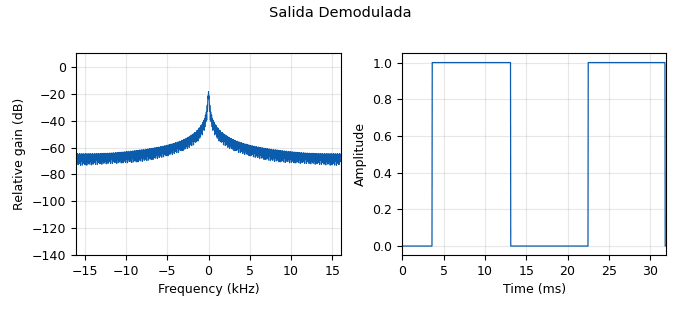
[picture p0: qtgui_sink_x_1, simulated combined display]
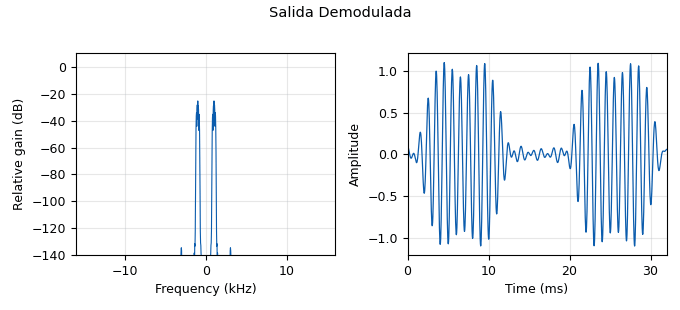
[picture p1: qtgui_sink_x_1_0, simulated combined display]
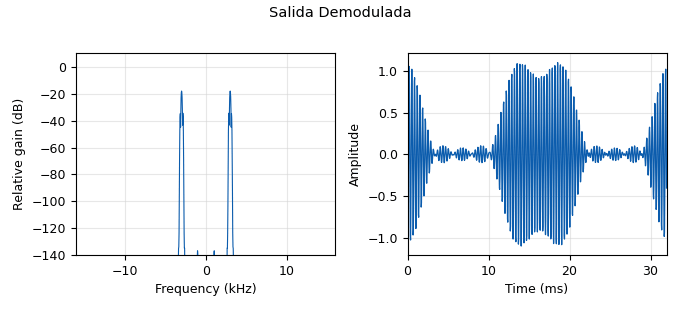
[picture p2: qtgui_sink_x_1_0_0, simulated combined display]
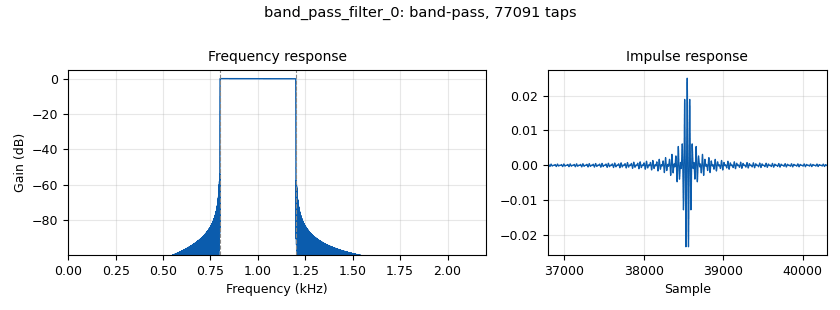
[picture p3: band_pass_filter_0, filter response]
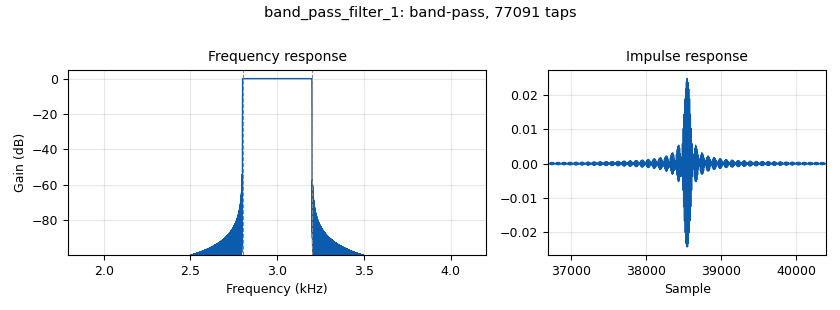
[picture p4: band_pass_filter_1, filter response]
options:
  parameters:
    author: Matias Gandino
    generate_options: qt_gui
    id: FSK_simulacion
    output_language: python
    title: FSK_simulacion
  states: {}

blocks:
- name: samp_rate
  id: variable
  parameters:
    value: '32000'
  states: {}
- name: analog_const_source_x_0
  id: analog_const_source_x
  parameters:
    const: '-1'
    type: float
  states: {}
- name: analog_sig_source_x_0
  id: analog_sig_source_x
  parameters:
    amp: '1'
    freq: '1000'
    offset: '0'
    phase: '0'
    samp_rate: samp_rate
    type: float
    waveform: analog.GR_COS_WAVE
  states: {}
- name: analog_sig_source_x_0_0
  id: analog_sig_source_x
  parameters:
    amp: '1'
    freq: '3000'
    offset: '0'
    phase: '0'
    samp_rate: samp_rate
    type: float
    waveform: analog.GR_COS_WAVE
  states: {}
- name: band_pass_filter_0
  id: band_pass_filter
  parameters:
    decim: '1'
    gain: '1'
    high_cutoff_freq: '1200'
    low_cutoff_freq: '800'
    samp_rate: '32000'
    type: fir_filter_fff
    width: '1'
    win: window.WIN_HAMMING
  states: {}
- name: band_pass_filter_1
  id: band_pass_filter
  parameters:
    decim: '1'
    gain: '1'
    high_cutoff_freq: '3200'
    low_cutoff_freq: '2800'
    samp_rate: '32000'
    type: fir_filter_fff
    width: '1'
    win: window.WIN_HAMMING
  states: {}
- name: blocks_add_const_vxx_0
  id: blocks_add_const_vxx
  parameters:
    const: '-1'
    type: float
  states: {}
- name: blocks_add_xx_0
  id: blocks_add_xx
  parameters:
    type: float
  states: {}
- name: blocks_moving_average_xx_0
  id: blocks_moving_average_xx
  parameters:
    length: '100'
    max_iter: '4000'
    scale: '0.01'
    type: float
  states: {}
- name: blocks_moving_average_xx_0_0
  id: blocks_moving_average_xx
  parameters:
    length: '100'
    max_iter: '4000'
    scale: '0.01'
    type: float
  states: {}
- name: blocks_multiply_xx_0
  id: blocks_multiply_xx
  parameters:
    type: float
  states: {}
- name: blocks_multiply_xx_0_0
  id: blocks_multiply_xx
  parameters:
    type: float
  states: {}
- name: blocks_multiply_xx_0_0_0
  id: blocks_multiply_xx
  parameters:
    type: float
  states: {}
- name: blocks_multiply_xx_1
  id: blocks_multiply_xx
  parameters:
    type: float
  states: {}
- name: blocks_multiply_xx_1_0
  id: blocks_multiply_xx
  parameters:
    type: float
  states: {}
- name: blocks_repeat_0
  id: blocks_repeat
  parameters:
    interp: '100'
    type: float
  states: {}
- name: blocks_sub_xx_0
  id: blocks_sub_xx
  parameters:
    type: float
  states: {}
- name: blocks_throttle2_0
  id: blocks_throttle2
  parameters:
    samples_per_second: samp_rate
    type: float
  states: {}
- name: blocks_uchar_to_float_0
  id: blocks_uchar_to_float
  parameters: {}
  states: {}
- name: blocks_vector_source_x_0
  id: blocks_vector_source_x
  parameters:
    repeat: 'True'
    tags: ''
    type: float
    vector: (0, 0, 0, 1, 1, 1, 0, 0, 0, 1, 1, 1)
  states: {}
- name: digital_binary_slicer_fb_0
  id: digital_binary_slicer_fb
  parameters: {}
  states: {}
- name: qtgui_sink_x_1
  id: qtgui_sink_x
  parameters:
    bw: samp_rate
    fc: '0'
    fftsize: '1024'
    name: '"Salida Demodulada"'
    type: float
  states: {}
- name: qtgui_sink_x_1_0
  id: qtgui_sink_x
  parameters:
    bw: samp_rate
    fc: '0'
    fftsize: '1024'
    name: '"Salida Demodulada"'
    type: float
  states: {}
- name: qtgui_sink_x_1_0_0
  id: qtgui_sink_x
  parameters:
    bw: samp_rate
    fc: '0'
    fftsize: '1024'
    name: '"Salida Demodulada"'
    type: float
  states: {}
- name: virtual_sink_0
  id: virtual_sink
  parameters:
    stream_id: FSK_salida
  states: {}
- name: virtual_source_0
  id: virtual_source
  parameters:
    stream_id: FSK_salida
  states: {}

connections:
- [analog_const_source_x_0, '0', blocks_multiply_xx_0_0, '1']
- [analog_sig_source_x_0, '0', blocks_multiply_xx_0, '0']
- [analog_sig_source_x_0_0, '0', blocks_multiply_xx_0_0_0, '1']
- [band_pass_filter_0, '0', blocks_multiply_xx_1, '0']
- [band_pass_filter_0, '0', blocks_multiply_xx_1, '1']
- [band_pass_filter_0, '0', qtgui_sink_x_1_0, '0']
- [band_pass_filter_1, '0', blocks_multiply_xx_1_0, '0']
- [band_pass_filter_1, '0', blocks_multiply_xx_1_0, '1']
- [band_pass_filter_1, '0', qtgui_sink_x_1_0_0, '0']
- [blocks_add_const_vxx_0, '0', blocks_multiply_xx_0_0, '0']
- [blocks_add_xx_0, '0', blocks_throttle2_0, '0']
- [blocks_moving_average_xx_0, '0', blocks_sub_xx_0, '1']
- [blocks_moving_average_xx_0_0, '0', blocks_sub_xx_0, '0']
- [blocks_multiply_xx_0, '0', blocks_add_xx_0, '0']
- [blocks_multiply_xx_0_0, '0', blocks_multiply_xx_0_0_0, '0']
- [blocks_multiply_xx_0_0_0, '0', blocks_add_xx_0, '1']
- [blocks_multiply_xx_1, '0', blocks_moving_average_xx_0_0, '0']
- [blocks_multiply_xx_1_0, '0', blocks_moving_average_xx_0, '0']
- [blocks_repeat_0, '0', blocks_add_const_vxx_0, '0']
- [blocks_repeat_0, '0', blocks_multiply_xx_0, '1']
- [blocks_sub_xx_0, '0', digital_binary_slicer_fb_0, '0']
- [blocks_throttle2_0, '0', virtual_sink_0, '0']
- [blocks_uchar_to_float_0, '0', qtgui_sink_x_1, '0']
- [blocks_vector_source_x_0, '0', blocks_repeat_0, '0']
- [digital_binary_slicer_fb_0, '0', blocks_uchar_to_float_0, '0']
- [virtual_source_0, '0', band_pass_filter_0, '0']
- [virtual_source_0, '0', band_pass_filter_1, '0']

metadata:
  file_format: 1
  grc_version: 3.10.12.0
